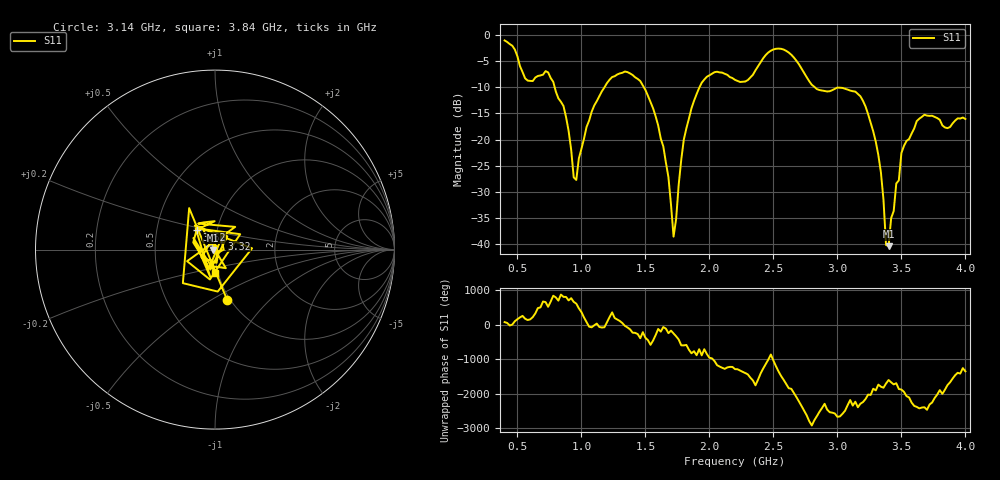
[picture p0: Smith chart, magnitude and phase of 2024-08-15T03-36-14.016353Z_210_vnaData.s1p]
!Created with skrf (http://scikit-rf.org).
# Hz S RI R 50.0
!freq ReS11 ImS11
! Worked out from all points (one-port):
!   181 points, 400 MHz to 4 GHz, reference 50 ohm
!   lowest |S11| = -40.4 dB at 3.4 GHz (marker M1), VSWR 1.02, Z = 49.1 - j0.222 ohm
!   |S11| at or under -10 dB: 791.2 MHz to 1.181 GHz (389.4 MHz wide, 39.5 % of centre); 1.488 GHz to 1.923 GHz (434.6 MHz wide, 25.5 % of centre); 2.824 GHz to end of sweep
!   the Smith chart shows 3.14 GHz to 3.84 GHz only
!   S11 on the Smith chart (normalised r, x): 3.14 GHz: 0.97, -0.59; 3.32 GHz: 1.06, +0.13; 3.62 GHz: 0.80, +0.18; 3.84 GHz: 0.97, -0.26
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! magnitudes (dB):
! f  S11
! 400 MHz  -1.1
! 580 MHz  -8.7
! 740 MHz  -7.2
! 860 MHz  -13.6
! 960 MHz  -27.7
! 1.08 GHz  -14.7
! 1.3 GHz  -7.4
! 1.56 GHz  -14.0
! 1.68 GHz  -27.2
! 1.72 GHz  -38.5
! 1.76 GHz  -28.7
! 1.8 GHz  -20.0
! 1.94 GHz  -9.1
! 2.2 GHz  -8.6
! 2.5 GHz  -2.8
! 2.66 GHz  -4.3
! 2.84 GHz  -10.4
! 3.1 GHz  -10.6
! 3.14 GHz  -10.8
! 3.32 GHz  -23.0
! 3.36 GHz  -31.5
! 3.38 GHz  -40.1
! 3.4 GHz  -40.4
! 3.5 GHz  -22.6
! 3.56 GHz  -19.9
! 3.62 GHz  -16.5
! 3.84 GHz  -17.7
! 4 GHz  -16.1
